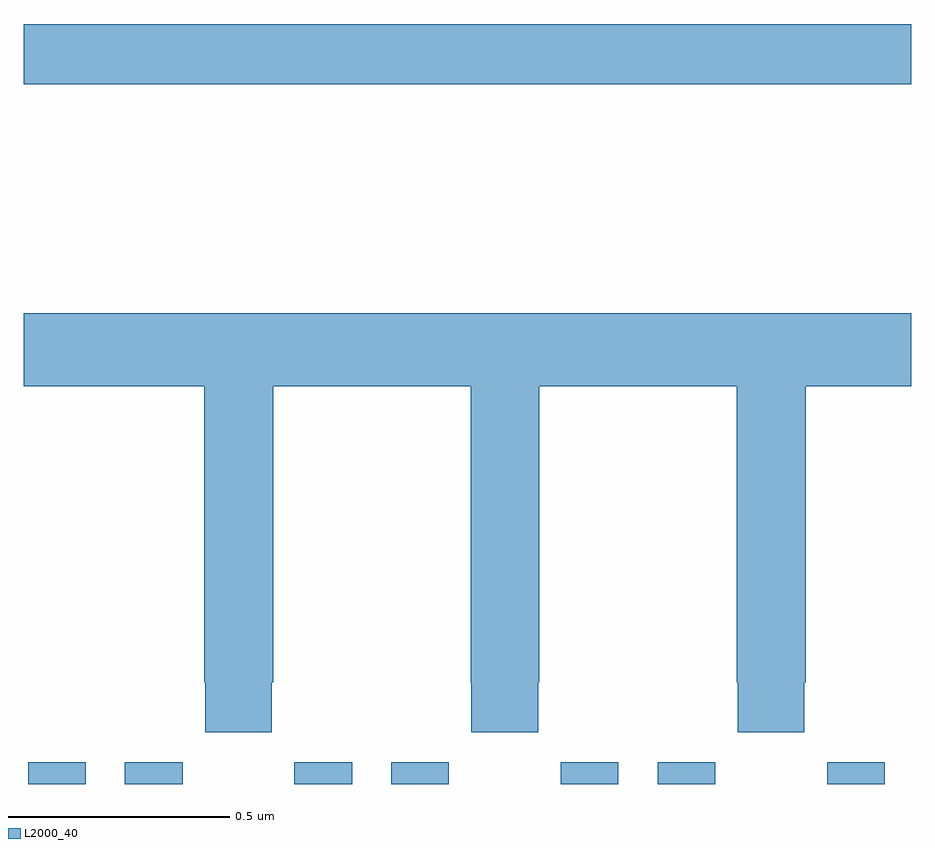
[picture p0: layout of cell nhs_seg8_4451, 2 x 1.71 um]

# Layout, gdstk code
import gdstk
lib = gdstk.Library(unit=1e-6, precision=1e-09)
def R(c, l, rs):  # rectangles x0, y0, x1, y1
    for r in rs: c.add(gdstk.rectangle(r[:2], r[2:], *l))
def P(c, l, *ps):  # polygons
    for p in ps: c.add(gdstk.Polygon(p, *l))
L2000_40 = (2000, 40)

nhs_seg8_4451 = lib.new_cell('nhs_seg8_4451')
R(nhs_seg8_4451, L2000_40, [(170.01,1152.9,170.14,1152.949), (170.228,1152.9,170.358,1152.949), (170.61,1152.9,170.74,1152.949), (170.828,1152.9,170.958,1152.949), (171.21,1152.9,171.34,1152.949), (171.428,1152.9,171.558,1152.949), (171.81,1152.9,171.94,1152.949), (170,1154.476,172,1154.612)])
P(nhs_seg8_4451, L2000_40, [(170,1153.796),(170.407,1153.796),(170.407,1153.129),(170.409,1153.129),(170.409,1153.017),(170.559,1153.017),(170.559,1153.129),(170.562,1153.129),(170.562,1153.796),(171.007,1153.796),(171.007,1153.129),(171.009,1153.129),(171.009,1153.017),(171.159,1153.017),(171.159,1153.129),(171.162,1153.129),(171.162,1153.796),(171.607,1153.796),(171.607,1153.129),(171.609,1153.129),(171.609,1153.017),(171.759,1153.017),(171.759,1153.129),(171.762,1153.129),(171.762,1153.796),(172,1153.796),(172,1153.96),(170,1153.96)])

lib.write_gds('nhs_seg8_4451.gds')
